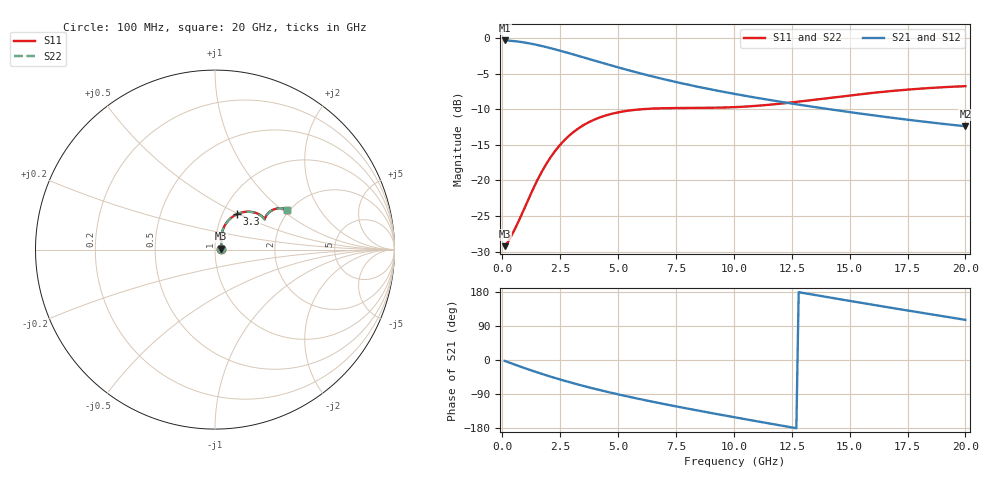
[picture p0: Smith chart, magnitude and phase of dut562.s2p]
! Touchstone file exported from HFSS 2024.1.0
!  File:  C:/UserFiles/LocalFiles/RDL_TSV_Batchsim/temp_RDL_TSV_562_1779752622.aedt
!  Generated:  08:01:19 AM May 26, 2026
!  Design:  RDL_TSV
!  Project:  temp_RDL_TSV_562_1779752622
!  Setup:  Setup1
!  Solution:  Sweep
! Variables:
!  dtsv = 9.93um
!  hbump = 3um
!  htsv = 91.77um
!  ldown = 440.11um
!  lrdl = 522.13um
!  p = 40
!  p1 = 56.33um
!  rhole = 10um
!  subl = 3408.85um
!  t = 450um
!  tdown = 4.26um
!  trdl = 2.06um
!  viad = 10um
!  wdown = 22.65um
!  wrdl = 12.03um
!  xbump = 18um
# GHz S MA R 50.000000
! Terminal data exported
! Port[1] = TM1_1_T1
! Port[2] = TM1_4_T1
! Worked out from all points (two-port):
!   200 points, 100 MHz to 20 GHz, reference 50 ohm
!   highest |S21| = -0.30 dB at 100 MHz (marker M1); lowest = -12.4 dB at 20 GHz (marker M2)
!   |S21| within 3 dB of the highest: start of sweep to 4.157 GHz
!   lowest |S11| = -29.2 dB at 100 MHz (marker M3), VSWR 1.07, Z = 53.5 + j0.607 ohm
!   |S11| at or under -10 dB: start of sweep to 5.954 GHz
!   |S22| runs from -29.2 to -6.7 dB; largest |S21 - S12| = 9e-15
!   S11 on the Smith chart (normalised r, x): 100 MHz: 1.07, +0.01; 3.3 GHz: 1.17, +0.49; 20 GHz: 1.94, +1.10
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0.1  0.03448 9.5  0.9656 -2.3  0.9656 -2.3  0.03448 9.5
! Gamma 0 0 0 0
! Port Impedance 50 0 50 0
0.4  0.04096 32.3  0.9592 -9.1  0.9592 -9.1  0.04097 32.3
0.8  0.05583 52.3  0.9428 -17.9  0.9428 -17.9  0.05585 52.3
1.3  0.08503 65.4  0.9125 -28.4  0.9125 -28.4  0.08501 65.3
1.7  0.1148 68.5  0.8831 -36.5  0.8831 -36.5  0.1147 68.4
2  0.1387 68.3  0.8592 -42.3  0.8592 -42.3  0.1385 68.2
2.4  0.1705 66.1  0.8261 -49.7  0.8261 -49.7  0.1703 66.0
2.8  0.2004 62.8  0.7925 -56.8  0.7925 -56.8  0.2001 62.7
3.3  0.2331 58.1  0.7509 -65.2  0.7509 -65.2  0.2327 58.0
3.5  0.2446 56.1  0.7346 -68.4  0.7346 -68.4  0.2441 56.0
4.3  0.2808 48.9  0.673 -80.7  0.673 -80.7  0.2802 48.8
5.1  0.3033 42.8  0.618 -92.0  0.618 -92.0  0.3026 42.7
5.9  0.3157 38.1  0.57 -102.6  0.57 -102.6  0.3148 38.0
6.8  0.3216 34.4  0.5236 -113.9  0.5236 -113.9  0.3206 34.3
8.4  0.3235 31.5  0.4576 -132.8  0.4576 -132.8  0.3224 31.5
10.1  0.3282 31.9  0.4043 -151.9  0.4043 -151.9  0.3271 31.9
11.7  0.3428 33.5  0.3646 -169.3  0.3646 -169.3  0.3417 33.6
13.4  0.3682 34.6  0.3299 172.6  0.3299 172.6  0.3673 34.6
15  0.3962 34.3  0.3025 156.0  0.3025 156.0  0.3953 34.4
16.7  0.4241 32.9  0.2778 138.7  0.2778 138.7  0.4233 33.0
18.3  0.4452 31.0  0.2581 122.7  0.2581 122.7  0.4444 31.0
20  0.4605 28.8  0.2405 106.0  0.2405 106.0  0.4598 28.8
